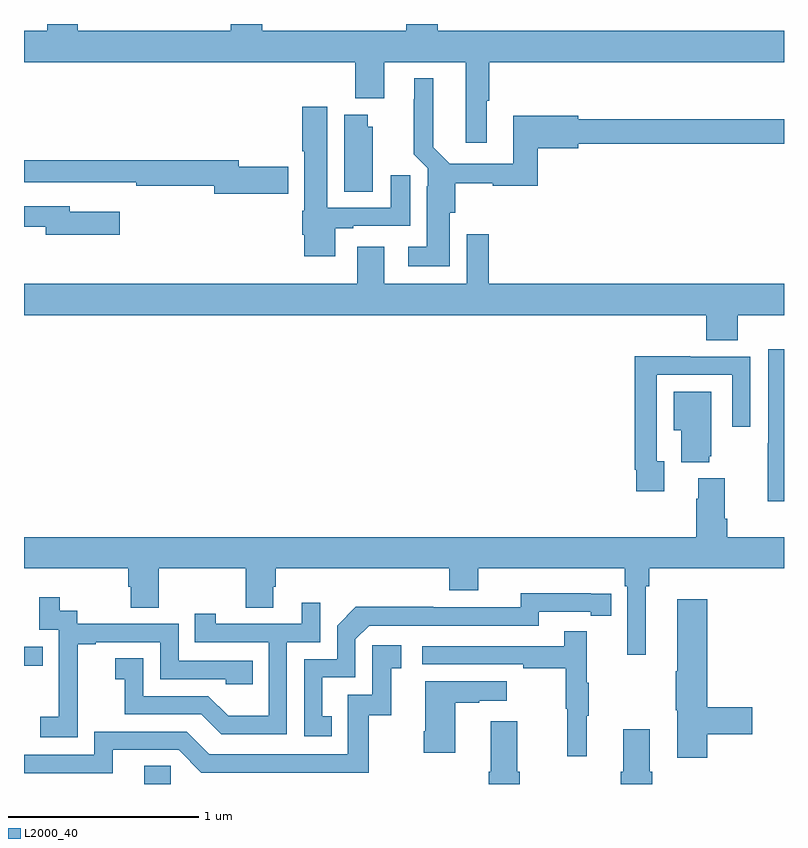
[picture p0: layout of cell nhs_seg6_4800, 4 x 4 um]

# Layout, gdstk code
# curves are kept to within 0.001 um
import gdstk
lib = gdstk.Library(unit=1e-6, precision=1e-09)
def R(c, l, rs):  # rectangles x0, y0, x1, y1
    for r in rs: c.add(gdstk.rectangle(r[:2], r[2:], *l))
def P(c, l, *ps):  # polygons
    for p in ps: c.add(gdstk.Polygon(p, *l))
L2000_40 = (2000, 40)

nhs_seg6_4800 = lib.new_cell('nhs_seg6_4800')
R(nhs_seg6_4800, L2000_40, [(395.633,979.5,395.772,979.595), (395,980.122,395.099,980.223)])
P(nhs_seg6_4800, L2000_40, [(397.435,983.096),(397.448,983.096),(397.448,983.3),(399,983.3),(399,983.464),(397.178,983.464),(397.178,983.5),(397.013,983.5),(397.013,983.464),(396.254,983.464),(396.254,983.5),(396.089,983.5),(396.089,983.464),(395.282,983.464),(395.282,983.5),(395.122,983.5),(395.122,983.464),(395,983.464),(395,983.3),(396.743,983.3),(396.743,983.108),(396.895,983.108),(396.895,983.3),(397.325,983.3),(397.325,982.875),(397.435,982.875)],
  [(397.24,982.506),(397.271,982.506),(397.271,982.663),(397.467,982.663),(397.467,982.648),(397.703,982.648),(397.703,982.847),(397.918,982.847),(397.918,982.87),(399,982.87),(399,982.999),(397.918,982.999),(397.918,983.017),(397.574,983.017),(397.574,982.764),(397.24,982.764),(397.153,982.852),(397.153,983.215),(397.055,983.215),(397.055,983.105),(397.051,983.105),(397.051,982.814),(397.125,982.74),(397.125,982.646),(397.121,982.646),(397.121,982.327),(397.023,982.327),(397.023,982.226),(397.24,982.226)],
  [(396.637,982.425),(396.733,982.425),(396.733,982.437),(397.033,982.437),(397.033,982.705),(396.929,982.705),(396.929,982.533),(396.595,982.533),(396.595,983.065),(396.464,983.065),(396.464,982.831),(396.476,982.831),(396.476,982.517),(396.464,982.517),(396.464,982.39),(396.476,982.39),(396.476,982.278),(396.637,982.278)],
  [(396.835,982.959),(396.808,982.959),(396.808,983.023),(396.686,983.023),(396.686,982.618),(396.835,982.618)],
  [(396.391,982.748),(396.13,982.748),(396.13,982.784),(395,982.784),(395,982.668),(395.338,982.668),(395.338,982.667),(395.59,982.667),(395.59,982.648),(396.002,982.648),(396.002,982.606),(396.391,982.606)],
  [(395.503,982.513),(395.242,982.513),(395.242,982.542),(395,982.542),(395,982.434),(395.114,982.434),(395.114,982.391),(395.503,982.391)],
  [(398.756,981.968),(399,981.968),(399,982.132),(397.445,982.132),(397.445,982.393),(397.329,982.393),(397.329,982.132),(396.895,982.132),(396.895,982.327),(396.755,982.327),(396.755,982.132),(395,982.132),(395,981.968),(398.591,981.968),(398.591,981.835),(398.756,981.835)],
  [(399,981.787),(398.916,981.787),(398.916,981.293),(398.914,981.293),(398.914,980.987),(399,980.987)],
  [(398.371,981.198),(398.331,981.198),(398.331,981.654),(398.727,981.654),(398.727,981.381),(398.823,981.381),(398.823,981.75),(398.507,981.75),(398.507,981.752),(398.215,981.752),(398.215,981.154),(398.223,981.154),(398.223,981.042),(398.371,981.042)],
  [(398.606,981.225),(398.617,981.225),(398.617,981.565),(398.42,981.565),(398.42,981.362),(398.459,981.362),(398.459,981.194),(398.606,981.194)],
  [(398.272,980.54),(398.291,980.54),(398.291,980.636),(399,980.636),(399,980.8),(398.702,980.8),(398.702,980.896),(398.689,980.896),(398.689,981.109),(398.549,981.109),(398.549,981.002),(398.537,981.002),(398.537,980.8),(395,980.8),(395,980.636),(395.549,980.636),(395.549,980.538),(395.561,980.538),(395.561,980.428),(395.709,980.428),(395.709,980.636),(396.166,980.636),(396.166,980.428),(396.313,980.428),(396.313,980.538),(396.326,980.538),(396.326,980.636),(397.238,980.636),(397.238,980.519),(397.39,980.519),(397.39,980.636),(398.162,980.636),(398.162,980.54),(398.175,980.54),(398.175,980.181),(398.272,980.181)],
  [(396.62,979.857),(396.571,979.857),(396.571,980.061),(396.744,980.061),(396.744,980.262),(396.816,980.334),(397.71,980.334),(397.71,980.406),(397.982,980.406),(397.982,980.386),(398.09,980.386),(398.09,980.502),(397.614,980.503),(397.614,980.43),(397.154,980.43),(397.154,980.432),(396.746,980.432),(396.648,980.334),(396.648,980.157),(396.474,980.157),(396.474,979.752),(396.62,979.752)],
  [(395.283,979.951),(395.282,979.951),(395.282,980.235),(395.377,980.235),(395.377,980.247),(395.718,980.247),(395.718,980.052),(396.063,980.052),(396.063,980.025),(396.203,980.025),(396.203,980.148),(395.814,980.148),(395.814,980.343),(395.28,980.343),(395.28,980.412),(395.188,980.412),(395.188,980.482),(395.079,980.482),(395.079,980.313),(395.184,980.313),(395.184,980.084),(395.183,980.084),(395.183,979.855),(395.085,979.855),(395.085,979.745),(395.283,979.745)],
  [(398.597,979.762),(398.833,979.762),(398.833,979.904),(398.597,979.904),(398.597,980.473),(398.438,980.473),(398.438,980.093),(398.431,980.093),(398.431,979.887),(398.438,979.887),(398.438,979.638),(398.597,979.638)],
  [(396.384,980.247),(396.558,980.247),(396.558,980.455),(396.461,980.455),(396.461,980.343),(396.01,980.343),(396.01,980.395),(395.899,980.395),(395.899,980.247),(396.288,980.247),(396.288,979.858),(396.074,979.858),(395.97,979.962),(395.628,979.962),(395.628,980.161),(395.481,980.161),(395.481,980.051),(395.53,980.051),(395.53,979.866),(395.933,979.866),(396.038,979.761),(396.384,979.761)],
  [(397.961,979.859),(397.972,979.859),(397.972,980.033),(397.961,980.033),(397.961,980.305),(397.843,980.305),(397.843,980.226),(397.095,980.226),(397.095,980.13),(397.627,980.13),(397.627,980.11),(397.851,980.11),(397.851,979.896),(397.858,979.896),(397.858,979.647),(397.961,979.647)],
  [(395.467,979.68),(395.814,979.68),(395.934,979.56),(396.814,979.56),(396.814,979.863),(396.932,979.863),(396.932,980.109),(396.985,980.109),(396.985,980.23),(396.834,980.23),(396.834,979.971),(396.705,979.971),(396.705,979.656),(395.976,979.656),(395.856,979.776),(395.37,979.776),(395.37,979.653),(395,979.653),(395,979.557),(395.467,979.557)],
  [(397.27,979.927),(397.397,979.927),(397.397,979.937),(397.54,979.937),(397.54,980.041),(397.112,980.041),(397.112,979.777),(397.105,979.777),(397.105,979.665),(397.27,979.665)],
  [(397.61,979.564),(397.597,979.564),(397.597,979.831),(397.457,979.831),(397.457,979.564),(397.445,979.564),(397.445,979.5),(397.61,979.5)],
  [(398.306,979.564),(398.293,979.564),(398.293,979.789),(398.153,979.789),(398.153,979.564),(398.141,979.564),(398.141,979.5),(398.306,979.5)])

lib.write_gds('nhs_seg6_4800.gds')
